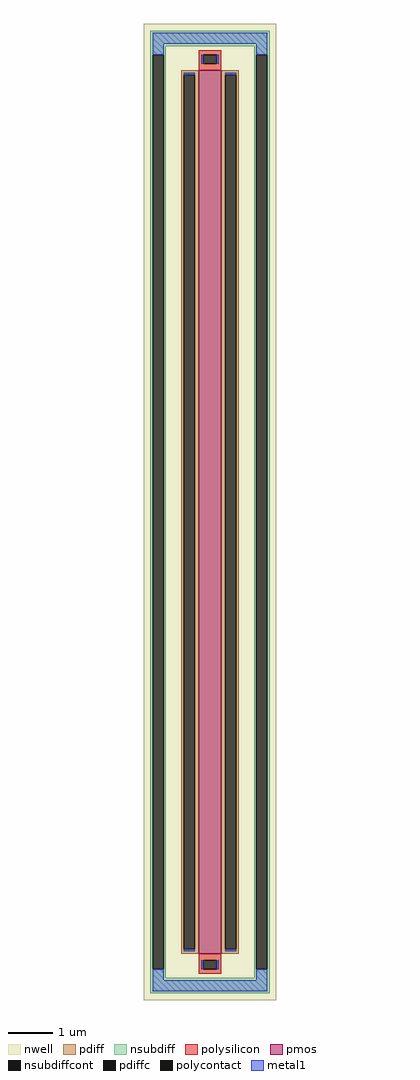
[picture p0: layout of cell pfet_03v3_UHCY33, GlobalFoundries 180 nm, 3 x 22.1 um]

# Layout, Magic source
magic
tech gf180mcuD
<< nwell >>
rect -30 -221 30 221
<< pmos >>
rect -5 -200 5 200
<< pdiff >>
rect -13 198 -5 200
rect -13 -198 -12 198
rect -7 -198 -5 198
rect -13 -200 -5 -198
rect 5 198 13 200
rect 5 -198 7 198
rect 12 -198 13 198
rect 5 -200 13 -198
<< pdiffc >>
rect -12 -198 -7 198
rect 7 -198 12 198
<< nsubdiff >>
rect -27 211 27 218
rect -27 207 -20 211
rect -27 -207 -26 207
rect -21 -207 -20 207
rect 20 207 27 211
rect -27 -211 -20 -207
rect 20 -207 21 207
rect 26 -207 27 207
rect 20 -211 27 -207
rect -27 -218 27 -211
<< nsubdiffcont >>
rect -26 -207 -21 207
rect 21 -207 26 207
<< polysilicon >>
rect -5 207 5 209
rect -5 203 -3 207
rect 3 203 5 207
rect -5 200 5 203
rect -5 -203 5 -200
rect -5 -207 -3 -203
rect 3 -207 5 -203
rect -5 -209 5 -207
<< polycontact >>
rect -3 203 3 207
rect -3 -207 3 -203
<< metal1 >>
rect -26 212 26 217
rect -26 207 -21 212
rect -4 203 -3 207
rect 3 203 4 207
rect 21 207 26 212
rect -12 198 -7 199
rect -12 -199 -7 -198
rect 7 198 12 199
rect 7 -199 12 -198
rect -26 -212 -21 -207
rect -4 -207 -3 -203
rect 3 -207 4 -203
rect 21 -212 26 -207
rect -26 -217 26 -212
<< properties >>
string FIXED_BBOX -24 -215 24 215
string gencell pfet_03v3
string library gf180mcu
string parameters w 20.0 l 0.5 m 1 nf 1 diffcov 100 polycov 100 guard 1 glc 1 grc 1 gtc 0 gbc 0 tbcov 100 rlcov 100 topc 1 botc 1 poverlap 0 doverlap 1 lmin 0.28 wmin 0.22 class mosfet full_metal 1 compatible {pfet_03v3 pfet_05v0 pfet_06v0} ad int((nf+1)/2)*W/nf*0.18u as int((nf+2)/2)*W/nf*0.18u pd 2*int((nf+1)/2)*(W/nf+0.18u) ps 2*int((nf+2)/2)*(W/nf+0.18u) nrd 0.18u/W nrs 0.18u/W sa 0 sb 0 sd 0
<< end >>
